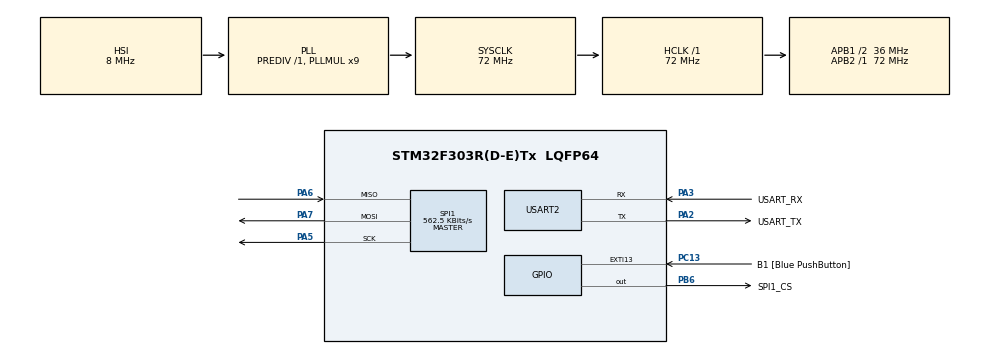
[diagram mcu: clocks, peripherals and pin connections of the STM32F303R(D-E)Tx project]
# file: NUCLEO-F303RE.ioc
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Mcu.Family=STM32F3
Mcu.Name=STM32F303R(D-E)Tx
Mcu.Package=LQFP64
NVIC.PriorityGroup=NVIC_PRIORITYGROUP_0
PA13.GPIO_Label=TMS
PA13.Mode=Serial_Wire
PA13.Signal=SYS_JTMS-SWDIO
PA14.GPIO_Label=TCK
PA14.Mode=Serial_Wire
PA14.Signal=SYS_JTCK-SWCLK
PA2.GPIO_Label=USART_TX
PA2.GPIO_Mode=GPIO_MODE_AF_PP
PA2.GPIO_PuPd=GPIO_NOPULL
PA2.GPIO_Speed=GPIO_SPEED_FREQ_LOW
PA2.Mode=Asynchronous
PA2.Signal=USART2_TX
PA3.GPIO_Label=USART_RX
PA3.GPIO_Mode=GPIO_MODE_AF_PP
PA3.GPIO_PuPd=GPIO_NOPULL
PA3.GPIO_Speed=GPIO_SPEED_FREQ_LOW
PA3.Mode=Asynchronous
PA3.Signal=USART2_RX
PA5.Mode=Full_Duplex_Master
PA5.Signal=SPI1_SCK
PA6.Mode=Full_Duplex_Master
PA6.Signal=SPI1_MISO
PA7.Mode=Full_Duplex_Master
PA7.Signal=SPI1_MOSI
PB3.GPIO_Label=SWO
PB3.Signal=SYS_JTDO-TRACESWO
PB6.GPIO_Label=SPI1_CS
PB6.PinState=GPIO_PIN_SET
PB6.Signal=GPIO_Output
PC13.GPIO_Label=B1 [Blue PushButton]
PC13.GPIO_ModeDefaultEXTI=GPIO_MODE_IT_FALLING
PC13.Signal=GPXTI13
PC14-OSC32_IN.Mode=LSE-External-Oscillator
PC14-OSC32_IN.Signal=RCC_OSC32_IN
PC15-OSC32_OUT.Mode=LSE-External-Oscillator
PC15-OSC32_OUT.Signal=RCC_OSC32_OUT
PF0-OSC_IN.Mode=HSE-External-Clock-Source
PF0-OSC_IN.Signal=RCC_OSC_IN
PF1-OSC_OUT.Signal=RCC_OSC_OUT
ProjectManager.HeapSize=0x200
ProjectManager.StackSize=0x400
ProjectManager.TargetToolchain=MDK-ARM V5
RCC.AHBFreq_Value=72000000
RCC.APB1CLKDivider=RCC_HCLK_DIV2
RCC.APB1Freq_Value=36000000
RCC.APB1TimFreq_Value=72000000
RCC.APB2Freq_Value=72000000
RCC.APB2TimFreq_Value=72000000
RCC.CortexFreq_Value=72000000
RCC.HCLKFreq_Value=72000000
RCC.HSE_VALUE=8000000
RCC.HSI_VALUE=8000000
RCC.PLLM=8
RCC.PLLMUL=RCC_PLL_MUL9
RCC.PLLN=336
RCC.PLLP=RCC_PLLP_DIV4
RCC.PLLQ=7
RCC.RCC_PLLsource_Clock_Source_FROM_HSE=RCC_HSE_PREDIV_DIV2
RCC.SYSCLKFreq_VALUE=72000000
RCC.SYSCLKSourceVirtual=RCC_SYSCLKSOURCE_PLLCLK
RCC.USBFreq_Value=72000000
SPI1.BaudRatePrescaler=SPI_BAUDRATEPRESCALER_128
SPI1.CLKPhase=SPI_PHASE_2EDGE
SPI1.CLKPolarity=SPI_POLARITY_HIGH
SPI1.CalculateBaudRate=562.5 KBits/s
SPI1.DataSize=SPI_DATASIZE_8BIT
SPI1.Direction=SPI_DIRECTION_2LINES
SPI1.Mode=SPI_MODE_MASTER
SPI1.VirtualType=VM_MASTER
USART2.VirtualMode-Asynchronous=VM_ASYNC
board=NUCLEO-F303RE

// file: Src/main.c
/* USER CODE BEGIN Header */
/**
  ******************************************************************************
  * @file           : main.c
  * @brief          : Main program body
  ******************************************************************************
  * @attention
  *
  * <h2><center>&copy; Copyright (c) 2019 STMicroelectronics.
  * All rights reserved.</center></h2>
  *
  * This software component is licensed by ST under BSD 3-Clause license,
  * the "License"; You may not use this file except in compliance with the
  * License. You may obtain a copy of the License at:
  *                        opensource.org/licenses/BSD-3-Clause
  *
  ******************************************************************************
  */
/* USER CODE END Header */

#include "main.h"

/* USER CODE BEGIN Includes */
#include <stdbool.h>
#include <string.h>
/* USER CODE END Includes */

SPI_HandleTypeDef hspi1;

UART_HandleTypeDef huart2;

void SystemClock_Config(void);
static void MX_GPIO_Init(void);
static void MX_USART2_UART_Init(void);
static void MX_SPI1_Init(void);
/* USER CODE BEGIN PFP */
uint16_t readMagAlphaAngleWithParityBitCheck(bool* error);
uint16_t readMagAlphaAngle(void);
uint8_t readMagAlphaRegister(uint8_t address);
uint8_t writeMagAlphaRegister(uint8_t address, uint8_t value);

/* USER CODE END PFP */

int main(void)
{
  /* USER CODE BEGIN 1 */
  uint16_t angle;
  uint8_t regAddress;
  uint8_t regValue;
  uint8_t readbackRegValue;
  bool error;
  //uint8_t uartRxData[100];
  uint8_t uartTxData[100];
  uint32_t uartTimeoutInMs = 100;
  /* USER CODE END 1 */

  /* MCU Configuration--------------------------------------------------------*/

  /* Reset of all peripherals, Initializes the Flash interface and the Systick. */
  HAL_Init();

  /* Configure the system clock */
  SystemClock_Config();

  /* Initialize all configured peripherals */
  MX_GPIO_Init();
  MX_USART2_UART_Init();
  MX_SPI1_Init();
  /* USER CODE BEGIN 2 */

  //Example of MagAlpha Register Settings (Set Reg 0 to 0x80)
  regAddress = 0;
  regValue = 0x80;
  //Read the initial register value
  readbackRegValue=readMagAlphaRegister(regAddress);
  //write the register with the desired value
  readbackRegValue=writeMagAlphaRegister(regAddress, regValue);

  //remove warning during compilation
  (void)readbackRegValue;
  (void)error;
  /* USER CODE END 2 */

  /* Infinite loop */
  /* USER CODE BEGIN WHILE */
  while (1)
  {
    angle = readMagAlphaAngle();
    sprintf((char *)uartTxData, "Angle = %d\n", angle);
    HAL_UART_Transmit(&huart2, uartTxData, strlen((const char *)uartTxData), uartTimeoutInMs);

    /* USER CODE END WHILE */

    /* USER CODE BEGIN 3 */
    /* Example with Parity Check
    angle = readMagAlphaAngleWithParityBitCheck(&error);
    if (error == true)
    {
      sprintf((char *)uartTxData, "Parity Error while reading angle %d\n", angle);
      HAL_UART_Transmit(&huart2, uartTxData, strlen((const char *)uartTxData), uartTimeoutInMs);
    }
    else
    {
      sprintf((char *)uartTxData, "Angle = %d\n", angle);
      HAL_UART_Transmit(&huart2, uartTxData, strlen((const char *)uartTxData), uartTimeoutInMs);
    }
    */
  }
  /* USER CODE END 3 */
}

void SystemClock_Config(void)
{
  RCC_OscInitTypeDef RCC_OscInitStruct = {0};
  RCC_ClkInitTypeDef RCC_ClkInitStruct = {0};
  RCC_PeriphCLKInitTypeDef PeriphClkInit = {0};

  /** Initializes the CPU, AHB and APB busses clocks
  */
  RCC_OscInitStruct.OscillatorType = RCC_OSCILLATORTYPE_HSI;
  RCC_OscInitStruct.HSIState = RCC_HSI_ON;
  RCC_OscInitStruct.HSICalibrationValue = RCC_HSICALIBRATION_DEFAULT;
  RCC_OscInitStruct.PLL.PLLState = RCC_PLL_ON;
  RCC_OscInitStruct.PLL.PLLSource = RCC_PLLSOURCE_HSI;
  RCC_OscInitStruct.PLL.PLLMUL = RCC_PLL_MUL9;
  RCC_OscInitStruct.PLL.PREDIV = RCC_PREDIV_DIV1;
  if (HAL_RCC_OscConfig(&RCC_OscInitStruct) != HAL_OK)
  {
    Error_Handler();
  }
  /** Initializes the CPU, AHB and APB busses clocks
  */
  RCC_ClkInitStruct.ClockType = RCC_CLOCKTYPE_HCLK|RCC_CLOCKTYPE_SYSCLK
                              |RCC_CLOCKTYPE_PCLK1|RCC_CLOCKTYPE_PCLK2;
  RCC_ClkInitStruct.SYSCLKSource = RCC_SYSCLKSOURCE_PLLCLK;
  RCC_ClkInitStruct.AHBCLKDivider = RCC_SYSCLK_DIV1;
  RCC_ClkInitStruct.APB1CLKDivider = RCC_HCLK_DIV2;
  RCC_ClkInitStruct.APB2CLKDivider = RCC_HCLK_DIV1;

  if (HAL_RCC_ClockConfig(&RCC_ClkInitStruct, FLASH_LATENCY_2) != HAL_OK)
  {
    Error_Handler();
  }
  PeriphClkInit.PeriphClockSelection = RCC_PERIPHCLK_USART2;
  PeriphClkInit.Usart2ClockSelection = RCC_USART2CLKSOURCE_PCLK1;
  if (HAL_RCCEx_PeriphCLKConfig(&PeriphClkInit) != HAL_OK)
  {
    Error_Handler();
  }
}

static void MX_SPI1_Init(void)
{

  /* SPI1 parameter configuration*/
  hspi1.Instance = SPI1;
  hspi1.Init.Mode = SPI_MODE_MASTER;
  hspi1.Init.Direction = SPI_DIRECTION_2LINES;
  hspi1.Init.DataSize = SPI_DATASIZE_8BIT;
  hspi1.Init.CLKPolarity = SPI_POLARITY_HIGH;
  hspi1.Init.CLKPhase = SPI_PHASE_2EDGE;
  hspi1.Init.NSS = SPI_NSS_SOFT;
  hspi1.Init.BaudRatePrescaler = SPI_BAUDRATEPRESCALER_128;
  hspi1.Init.FirstBit = SPI_FIRSTBIT_MSB;
  hspi1.Init.TIMode = SPI_TIMODE_DISABLE;
  hspi1.Init.CRCCalculation = SPI_CRCCALCULATION_DISABLE;
  hspi1.Init.CRCPolynomial = 7;
  hspi1.Init.CRCLength = SPI_CRC_LENGTH_DATASIZE;
  hspi1.Init.NSSPMode = SPI_NSS_PULSE_DISABLE;
  if (HAL_SPI_Init(&hspi1) != HAL_OK)
  {
    Error_Handler();
  }

}

static void MX_USART2_UART_Init(void)
{

  huart2.Instance = USART2;
  huart2.Init.BaudRate = 38400;
  huart2.Init.WordLength = UART_WORDLENGTH_8B;
  huart2.Init.StopBits = UART_STOPBITS_1;
  huart2.Init.Parity = UART_PARITY_NONE;
  huart2.Init.Mode = UART_MODE_TX_RX;
  huart2.Init.HwFlowCtl = UART_HWCONTROL_NONE;
  huart2.Init.OverSampling = UART_OVERSAMPLING_16;
  huart2.Init.OneBitSampling = UART_ONE_BIT_SAMPLE_DISABLE;
  huart2.AdvancedInit.AdvFeatureInit = UART_ADVFEATURE_NO_INIT;
  if (HAL_UART_Init(&huart2) != HAL_OK)
  {
    Error_Handler();
  }

}

static void MX_GPIO_Init(void)
{
  GPIO_InitTypeDef GPIO_InitStruct = {0};

  /* GPIO Ports Clock Enable */
  __HAL_RCC_GPIOC_CLK_ENABLE();
  __HAL_RCC_GPIOF_CLK_ENABLE();
  __HAL_RCC_GPIOA_CLK_ENABLE();
  __HAL_RCC_GPIOB_CLK_ENABLE();

  /*Configure GPIO pin Output Level */
  HAL_GPIO_WritePin(SPI1_CS_GPIO_Port, SPI1_CS_Pin, GPIO_PIN_SET);

  /*Configure GPIO pin : B1_Pin */
  GPIO_InitStruct.Pin = B1_Pin;
  GPIO_InitStruct.Mode = GPIO_MODE_IT_FALLING;
  GPIO_InitStruct.Pull = GPIO_NOPULL;
  HAL_GPIO_Init(B1_GPIO_Port, &GPIO_InitStruct);

  /*Configure GPIO pin : SPI1_CS_Pin */
  GPIO_InitStruct.Pin = SPI1_CS_Pin;
  GPIO_InitStruct.Mode = GPIO_MODE_OUTPUT_PP;
  GPIO_InitStruct.Pull = GPIO_NOPULL;
  GPIO_InitStruct.Speed = GPIO_SPEED_FREQ_LOW;
  HAL_GPIO_Init(SPI1_CS_GPIO_Port, &GPIO_InitStruct);

}

/* USER CODE BEGIN 4 */
uint16_t readMagAlphaAngle(void)
{
  uint32_t timeout=10;
  uint8_t txData[2];
  uint8_t rxData[2];
  txData[1]=0;
  txData[0]=0;
  uint16_t angleSensor;
  HAL_GPIO_WritePin(SPI1_CS_GPIO_Port, SPI1_CS_Pin, GPIO_PIN_RESET);
  HAL_SPI_TransmitReceive(&hspi1, txData, rxData, 2, timeout);
  HAL_GPIO_WritePin(SPI1_CS_GPIO_Port, SPI1_CS_Pin, GPIO_PIN_SET);
  angleSensor=rxData[0]<<8 | rxData[1];
  return angleSensor;
}

uint8_t readMagAlphaRegister(uint8_t address)
{
  uint32_t timeout=10;
  uint32_t delay=1;//ms
  uint8_t txData1[2];
  uint8_t rxData1[2];
  uint8_t txData2[2];
  uint8_t rxData2[2];
  txData1[0]=(0x2<<5)|(0x1F&address);
  txData1[1]=0x00;
  txData2[0]=0x00;
  txData2[1]=0x00;
  uint8_t registerReadbackValue;
  HAL_GPIO_WritePin(SPI1_CS_GPIO_Port, SPI1_CS_Pin, GPIO_PIN_RESET);
  HAL_SPI_TransmitReceive(&hspi1, txData1, rxData1, 2, timeout);
  HAL_GPIO_WritePin(SPI1_CS_GPIO_Port, SPI1_CS_Pin, GPIO_PIN_SET);
  HAL_Delay(delay);
  HAL_GPIO_WritePin(SPI1_CS_GPIO_Port, SPI1_CS_Pin, GPIO_PIN_RESET);
  HAL_SPI_TransmitReceive(&hspi1, txData2, rxData2, 2, timeout);
  HAL_GPIO_WritePin(SPI1_CS_GPIO_Port, SPI1_CS_Pin, GPIO_PIN_SET);
  registerReadbackValue=rxData2[0];
  return registerReadbackValue;
}

uint8_t writeMagAlphaRegister(uint8_t address, uint8_t value)
{
  uint32_t timeout=10;
  uint32_t delay=20;//ms
  uint8_t txData1[2];
  uint8_t rxData1[2];
  uint8_t txData2[2];
  uint8_t rxData2[2];
  txData1[0]=(0x4<<5)|(0x1F&address);
  txData1[1]=value;
  txData2[0]=0x00;
  txData2[1]=0x00;
  uint8_t registerReadbackValue;
  HAL_GPIO_WritePin(SPI1_CS_GPIO_Port, SPI1_CS_Pin, GPIO_PIN_RESET);
  HAL_SPI_TransmitReceive(&hspi1, txData1, rxData1, 2, timeout);
  HAL_GPIO_WritePin(SPI1_CS_GPIO_Port, SPI1_CS_Pin, GPIO_PIN_SET);
  HAL_Delay(delay);
  HAL_GPIO_WritePin(SPI1_CS_GPIO_Port, SPI1_CS_Pin, GPIO_PIN_RESET);
  HAL_SPI_TransmitReceive(&hspi1, txData2, rxData2, 2, timeout);
  HAL_GPIO_WritePin(SPI1_CS_GPIO_Port, SPI1_CS_Pin, GPIO_PIN_SET);
  registerReadbackValue=rxData2[0];
  return registerReadbackValue;
}

uint16_t readMagAlphaAngleWithParityBitCheck(bool* error)
{
  uint32_t timeout=10;
  uint8_t highStateCount = 0;
  uint8_t parity;
  uint8_t txData[3];
  uint8_t rxData[3];
  txData[2]=0;
  txData[1]=0;
  txData[0]=0;
  uint16_t angleSensor;
  HAL_GPIO_WritePin(SPI1_CS_GPIO_Port, SPI1_CS_Pin, GPIO_PIN_RESET);
  HAL_SPI_TransmitReceive(&hspi1, txData, rxData, 3, timeout);
  HAL_GPIO_WritePin(SPI1_CS_GPIO_Port, SPI1_CS_Pin, GPIO_PIN_SET);
  angleSensor=rxData[0]<<8 | rxData[1];
  parity = ((rxData[2] & 0x80) >> 7);
  //Count the number of 1 in the angle binary value
  for (int i=0;i<16;++i)
  {
    if ((angleSensor & (1 << i)) != 0)
    {
        highStateCount++;
    }
  }
  //check if parity bit is correct
  if ((highStateCount % 2) == 0) //number of bits set to 1 in the angle is even
  {
    if (parity == 0)
    {
      *error = false;
    }
    else
    {
      *error = true;
    }
  }
  else //number of bits set to 1 in the angle is odd
  {
    if (parity == 1)
    {
      *error = false;
    }
    else
    {
      *error = true;
    }
  }
  return angleSensor;
}
/* USER CODE END 4 */

void Error_Handler(void)
{
}

/************************ (C) COPYRIGHT STMicroelectronics *****END OF FILE****/
